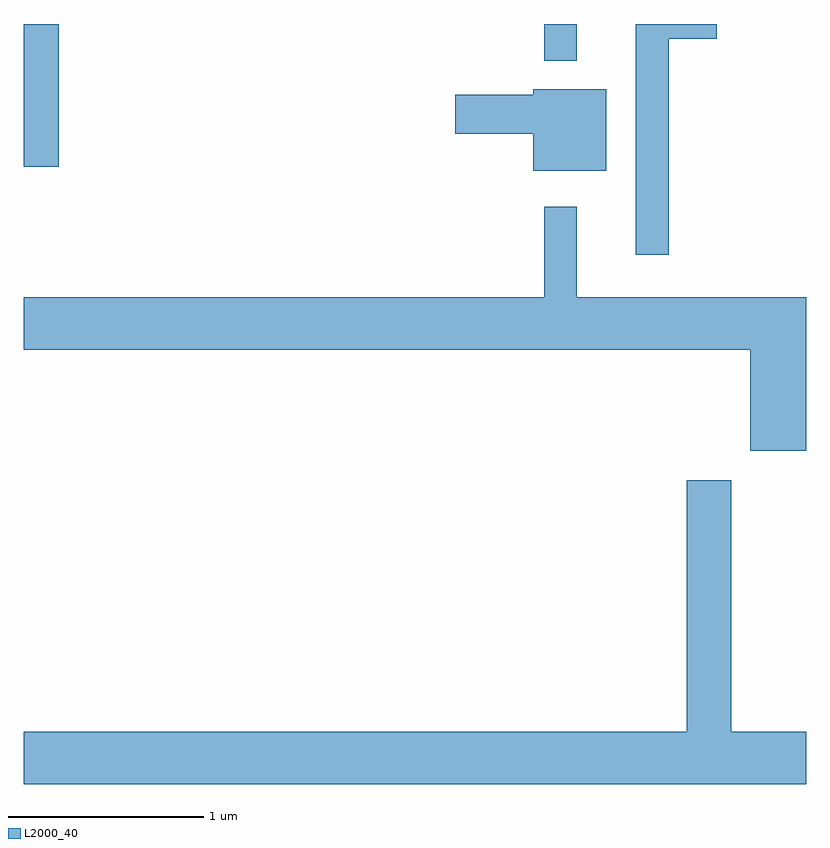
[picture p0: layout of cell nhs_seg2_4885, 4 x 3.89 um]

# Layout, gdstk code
import gdstk
lib = gdstk.Library(unit=1e-6, precision=1e-09)
def R(c, l, rs):  # rectangles x0, y0, x1, y1
    for r in rs: c.add(gdstk.rectangle(r[:2], r[2:], *l))
def P(c, l, *ps):  # polygons
    for p in ps: c.add(gdstk.Polygon(p, *l))
L2000_40 = (2000, 40)

nhs_seg2_4885 = lib.new_cell('nhs_seg2_4885')
R(nhs_seg2_4885, L2000_40, [(329.611,1007.071,329.789,1007.802), (332.271,1007.613,332.439,1007.802)])
P(nhs_seg2_4885, L2000_40, [(332.909,1007.726),(333.154,1007.726),(333.154,1007.802),(332.741,1007.802),(332.741,1006.623),(332.909,1006.623)],
  [(332.589,1007.469),(332.216,1007.469),(332.216,1007.439),(331.816,1007.439),(331.816,1007.241),(332.216,1007.241),(332.216,1007.051),(332.589,1007.051)],
  [(333.611,1006.404),(332.439,1006.404),(332.439,1006.868),(332.271,1006.868),(332.271,1006.404),(329.611,1006.404),(329.611,1006.136),(333.326,1006.136),(333.326,1005.621),(333.611,1005.621)],
  [(333.611,1004.184),(333.229,1004.184),(333.229,1005.469),(333.001,1005.469),(333.001,1004.184),(329.611,1004.184),(329.611,1003.916),(333.611,1003.916)])

lib.write_gds('nhs_seg2_4885.gds')
